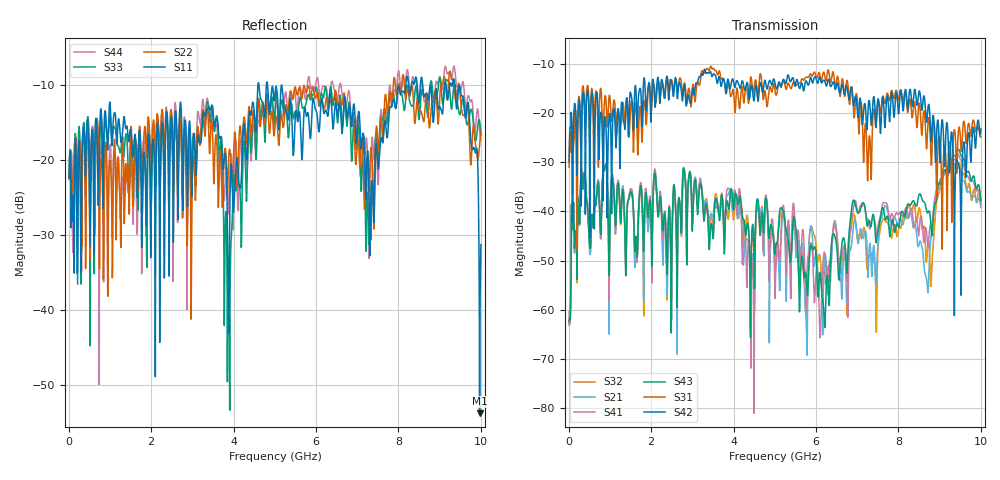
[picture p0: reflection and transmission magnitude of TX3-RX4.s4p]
# Hz S  RI  R 50
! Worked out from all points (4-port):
!   1601 points, 10 MHz to 10 GHz, reference 50 ohm
!   strongest paths, dB at 10 MHz, 2.507 GHz, 5.005 GHz, 7.503 GHz, 10 GHz:
!     S42: -29.9, -14.3, -13.9, -17.2, -23.3
!     S31: -31.0, -13.5, -15.6, -17.7, -24.8
!     S43: -62.4, -44.3, -48.5, -44.1, -37.8
!     S41: -60.3, -45.3, -57.7, -43.1, -38.5
!     S21: -63.2, -47.0, -50.1, -46.5, -39.2
!     S32: -62.9, -45.8, -52.6, -47.7, -38.3
!   lowest |S11| = -53.8 dB at 9.969 GHz (marker M1), VSWR 1.00, Z = 50.1 - j0.177 ohm
!   |S11| at or under -10 dB: start of sweep to 4.59 GHz; 5.168 GHz to 8.179 GHz (3.011 GHz wide, 45.1 % of centre); 8.588 GHz to 9.117 GHz (529.6 MHz wide, 5.98 % of centre)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
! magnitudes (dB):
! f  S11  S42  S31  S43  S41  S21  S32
! 10 MHz  -22.4  -29.9  -31.0  -62.4  -60.3  -63.2  -62.9
! 877.9 MHz  -13.5  -20.8  -16.8  -31.2  -30.9  -31.2  -31.5
! 3.375 GHz  -13.1  -11.8  -11.1  -40.9  -41.5  -40.5  -40.1
! 3.887 GHz  -42.8  -14.2  -14.1  -39.5  -35.4  -36.1  -40.4
! 6.191 GHz  -13.8  -13.4  -11.8  -60.8  -48.6  -52.1  -52.4
! 9.969 GHz  -53.8  -23.6  -24.3  -35.4  -37.0  -37.7  -36.0
! 10 GHz  -31.3  -23.3  -24.8  -37.8  -38.5  -39.2  -38.3
